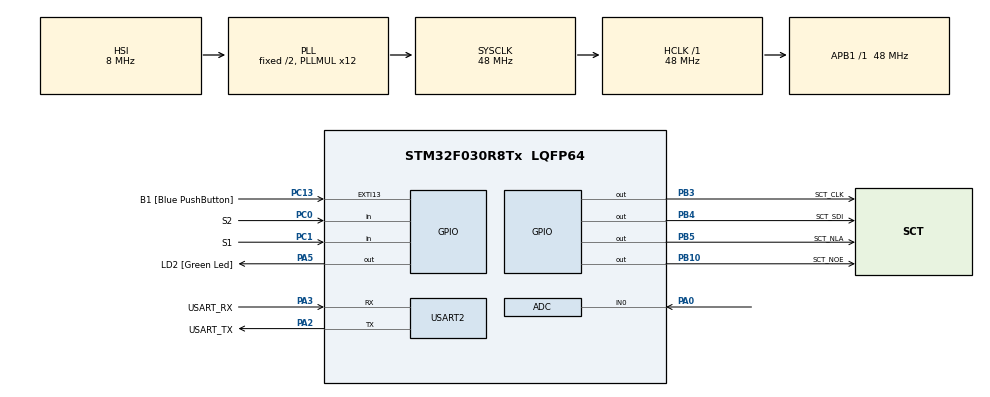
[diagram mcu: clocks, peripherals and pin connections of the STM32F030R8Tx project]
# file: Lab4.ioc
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Mcu.Family=STM32F0
Mcu.Name=STM32F030R8Tx
Mcu.Package=LQFP64
PA0.Mode=IN0
PA0.Signal=ADC_IN0
PA13.GPIO_Label=TMS
PA13.Mode=Serial_Wire
PA13.Signal=SYS_SWDIO
PA14.GPIO_Label=TCK
PA14.Mode=Serial_Wire
PA14.Signal=SYS_SWCLK
PA2.GPIO_Label=USART_TX
PA2.GPIO_Mode=GPIO_MODE_AF_PP
PA2.GPIO_PuPd=GPIO_NOPULL
PA2.GPIO_Speed=GPIO_SPEED_FREQ_LOW
PA2.Mode=Asynchronous
PA2.Signal=USART2_TX
PA3.GPIO_Label=USART_RX
PA3.GPIO_Mode=GPIO_MODE_AF_PP
PA3.GPIO_PuPd=GPIO_NOPULL
PA3.GPIO_Speed=GPIO_SPEED_FREQ_LOW
PA3.Mode=Asynchronous
PA3.Signal=USART2_RX
PA5.GPIO_Label=LD2 [Green Led]
PA5.GPIO_Mode=GPIO_MODE_OUTPUT_PP
PA5.GPIO_PuPd=GPIO_NOPULL
PA5.GPIO_Speed=GPIO_SPEED_FREQ_LOW
PA5.Signal=GPIO_Output
PB10.GPIO_Label=SCT_NOE
PB10.Signal=GPIO_Output
PB3.GPIO_Label=SCT_CLK
PB3.Signal=GPIO_Output
PB4.GPIO_Label=SCT_SDI
PB4.Signal=GPIO_Output
PB5.GPIO_Label=SCT_NLA
PB5.Signal=GPIO_Output
PC0.GPIO_Label=S2
PC0.GPIO_PuPd=GPIO_PULLUP
PC0.Signal=GPIO_Input
PC1.GPIO_Label=S1
PC1.GPIO_PuPd=GPIO_PULLUP
PC1.Signal=GPIO_Input
PC13.GPIO_Label=B1 [Blue PushButton]
PC13.GPIO_ModeDefaultEXTI=GPIO_MODE_IT_FALLING
PC13.Signal=GPXTI13
PC14-OSC32_IN.Mode=LSE-External-Oscillator
PC14-OSC32_IN.Signal=RCC_OSC32_IN
PC15-OSC32_OUT.Mode=LSE-External-Oscillator
PC15-OSC32_OUT.Signal=RCC_OSC32_OUT
PF0-OSC_IN.Mode=HSE-External-Clock-Source
PF0-OSC_IN.Signal=RCC_OSC_IN
PF1-OSC_OUT.Signal=RCC_OSC_OUT
ProjectManager.HeapSize=0x200
ProjectManager.StackSize=0x400
ProjectManager.TargetToolchain=STM32CubeIDE
RCC.AHBFreq_Value=48000000
RCC.APB1Freq_Value=48000000
RCC.APB1TimFreq_Value=48000000
RCC.HCLKFreq_Value=48000000
RCC.PLLMUL=RCC_PLL_MUL12
RCC.SYSCLKFreq_VALUE=48000000
RCC.SYSCLKSource=RCC_SYSCLKSOURCE_PLLCLK
USART2.VirtualMode-Asynchronous=VM_ASYNC
VP_ADC_TempSens_Input.Mode=IN-TempSens
VP_ADC_Vref_Input.Mode=IN-Vrefint
board=NUCLEO-F030R8

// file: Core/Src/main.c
/* USER CODE BEGIN Header */
/**
  ******************************************************************************
  * @file           : main.c
  * @brief          : Main program body
  ******************************************************************************
  * @attention
  *
  * <h2><center>&copy; Copyright (c) 2021 STMicroelectronics.
  * All rights reserved.</center></h2>
  *
  * This software component is licensed by ST under BSD 3-Clause license,
  * the "License"; You may not use this file except in compliance with the
  * License. You may obtain a copy of the License at:
  *                        opensource.org/licenses/BSD-3-Clause
  *
  ******************************************************************************
  */
/* USER CODE END Header */
#include "main.h"

/* USER CODE BEGIN Includes */
#include "sct.h"
/* USER CODE END Includes */

/* USER CODE BEGIN PD */

#define RX_BUFFER_LEN 64
static uint8_t uart_rx_buf[RX_BUFFER_LEN];
static volatile uint16_t uart_rx_read_ptr = 0;
#define uart_rx_write_ptr (RX_BUFFER_LEN - hdma_usart2_rx.Instance->CNDTR)

/* USER CODE END PD */

/* USER CODE BEGIN PM */
#define ADC_Q 12
/* Temperature sensor calibration value address */
#define TEMP110_CAL_ADDR ((uint16_t*) ((uint32_t) 0x1FFFF7C2))
#define TEMP30_CAL_ADDR ((uint16_t*) ((uint32_t) 0x1FFFF7B8))
/* Internal voltage reference calibration value address */
#define VREFINT_CAL_ADDR ((uint16_t*) ((uint32_t) 0x1FFFF7BA))
/* USER CODE END PM */

ADC_HandleTypeDef hadc;

UART_HandleTypeDef huart2;

void SystemClock_Config(void);
static void MX_GPIO_Init(void);
static void MX_USART2_UART_Init(void);
static void MX_ADC_Init(void);

/* USER CODE BEGIN 0 */

static volatile uint32_t raw_pot;

static volatile uint32_t raw_temp;
static volatile uint32_t raw_volt;

void HAL_ADC_ConvCpltCallback(ADC_HandleTypeDef* hadc)
{
	static uint8_t channel;
	static uint32_t avg_pot;

	if (channel == 0)
	{
		/*Exponential cummulation*/
		raw_pot = avg_pot >> ADC_Q;
		avg_pot -= raw_pot;
		avg_pot += HAL_ADC_GetValue(hadc);
	}
	else if (channel == 1)
	{
		raw_temp =  HAL_ADC_GetValue(hadc);
	}
	else if (channel == 2)
		raw_volt = HAL_ADC_GetValue(hadc);

	if (__HAL_ADC_GET_FLAG(hadc, ADC_FLAG_EOS)) channel = 0;
	else channel++;
}

/* USER CODE END 0 */

int main(void)
{

  /* MCU Configuration--------------------------------------------------------*/

  /* Reset of all peripherals, Initializes the Flash interface and the Systick. */
  HAL_Init();

  /* Configure the system clock */
  SystemClock_Config();

  /* Initialize all configured peripherals */
  MX_GPIO_Init();
  MX_USART2_UART_Init();
  MX_ADC_Init();
  /* USER CODE BEGIN 2 */
  sct_init(); // initialize the imported library

  /*Calibration of the ADC*/
  HAL_ADCEx_Calibration_Start(&hadc);
  HAL_ADC_Start_IT(&hadc);

  /* USER CODE END 2 */

  /* Infinite loop */
  while (1)
  {

    /* USER CODE BEGIN 3 */
	  static uint32_t last_time;
	  uint32_t time;

	  int32_t value = raw_pot*501/4096;
	  int8_t led = raw_pot/(500);

	  uint32_t voltage = 330 * (*VREFINT_CAL_ADDR) / raw_volt;
	  int32_t temperature = (raw_temp - (int32_t)(*TEMP30_CAL_ADDR));
	  temperature = temperature * (int32_t)(110 - 30);
	  temperature = temperature / (int32_t)(*TEMP110_CAL_ADDR - *TEMP30_CAL_ADDR);
	  temperature = temperature + 30;

	  static enum { SHOW_POT, SHOW_VOLT, SHOW_TEMP } state = SHOW_POT;

	  // check buttons
	  if (HAL_GPIO_ReadPin(S1_GPIO_Port,S1_Pin)==0)
	  {
		  last_time = HAL_GetTick();
		  state = SHOW_VOLT;
	  }
	  if (HAL_GPIO_ReadPin(S2_GPIO_Port,S2_Pin)==0)
	  {
		  last_time = HAL_GetTick();
		  state = SHOW_TEMP;
	  }

	  // stavy
	  if (state==SHOW_POT)
	  {
		  sct_value(value,led);
	  }

	  else if (state==SHOW_VOLT)
	  {
		  sct_value(voltage,led);
		  time = HAL_GetTick();
		  if (last_time+1000<time)
		  {
			  state = SHOW_POT;
		  }
	  }

	  else if (state==SHOW_TEMP)
	  {
		  sct_value(temperature,led);
		  time = HAL_GetTick();
		  if (last_time+1000<time)
		  {
			  state = SHOW_POT;
		  }
	  }
  }
  /* USER CODE END 3 */
}

void SystemClock_Config(void)
{
  RCC_OscInitTypeDef RCC_OscInitStruct = {0};
  RCC_ClkInitTypeDef RCC_ClkInitStruct = {0};

  /** Initializes the RCC Oscillators according to the specified parameters
  * in the RCC_OscInitTypeDef structure.
  */
  RCC_OscInitStruct.OscillatorType = RCC_OSCILLATORTYPE_HSI|RCC_OSCILLATORTYPE_HSI14;
  RCC_OscInitStruct.HSIState = RCC_HSI_ON;
  RCC_OscInitStruct.HSI14State = RCC_HSI14_ON;
  RCC_OscInitStruct.HSICalibrationValue = RCC_HSICALIBRATION_DEFAULT;
  RCC_OscInitStruct.HSI14CalibrationValue = 16;
  RCC_OscInitStruct.PLL.PLLState = RCC_PLL_ON;
  RCC_OscInitStruct.PLL.PLLSource = RCC_PLLSOURCE_HSI;
  RCC_OscInitStruct.PLL.PLLMUL = RCC_PLL_MUL12;
  RCC_OscInitStruct.PLL.PREDIV = RCC_PREDIV_DIV1;
  if (HAL_RCC_OscConfig(&RCC_OscInitStruct) != HAL_OK)
  {
    Error_Handler();
  }
  /** Initializes the CPU, AHB and APB buses clocks
  */
  RCC_ClkInitStruct.ClockType = RCC_CLOCKTYPE_HCLK|RCC_CLOCKTYPE_SYSCLK
                              |RCC_CLOCKTYPE_PCLK1;
  RCC_ClkInitStruct.SYSCLKSource = RCC_SYSCLKSOURCE_PLLCLK;
  RCC_ClkInitStruct.AHBCLKDivider = RCC_SYSCLK_DIV1;
  RCC_ClkInitStruct.APB1CLKDivider = RCC_HCLK_DIV1;

  if (HAL_RCC_ClockConfig(&RCC_ClkInitStruct, FLASH_LATENCY_1) != HAL_OK)
  {
    Error_Handler();
  }
}

static void MX_ADC_Init(void)
{

  ADC_ChannelConfTypeDef sConfig = {0};

  /** Configure the global features of the ADC (Clock, Resolution, Data Alignment and number of conversion)
  */
  hadc.Instance = ADC1;
  hadc.Init.ClockPrescaler = ADC_CLOCK_ASYNC_DIV1;
  hadc.Init.Resolution = ADC_RESOLUTION_12B;
  hadc.Init.DataAlign = ADC_DATAALIGN_RIGHT;
  hadc.Init.ScanConvMode = ADC_SCAN_DIRECTION_FORWARD;
  hadc.Init.EOCSelection = ADC_EOC_SINGLE_CONV;
  hadc.Init.LowPowerAutoWait = DISABLE;
  hadc.Init.LowPowerAutoPowerOff = DISABLE;
  hadc.Init.ContinuousConvMode = DISABLE;
  hadc.Init.DiscontinuousConvMode = DISABLE;
  hadc.Init.ExternalTrigConv = ADC_SOFTWARE_START;
  hadc.Init.ExternalTrigConvEdge = ADC_EXTERNALTRIGCONVEDGE_NONE;
  hadc.Init.DMAContinuousRequests = DISABLE;
  hadc.Init.Overrun = ADC_OVR_DATA_PRESERVED;
  if (HAL_ADC_Init(&hadc) != HAL_OK)
  {
    Error_Handler();
  }
  /** Configure for the selected ADC regular channel to be converted.
  */
  sConfig.Channel = ADC_CHANNEL_0;
  sConfig.Rank = ADC_RANK_CHANNEL_NUMBER;
  sConfig.SamplingTime = ADC_SAMPLETIME_1CYCLE_5;
  if (HAL_ADC_ConfigChannel(&hadc, &sConfig) != HAL_OK)
  {
    Error_Handler();
  }
  /** Configure for the selected ADC regular channel to be converted.
  */
  sConfig.Channel = ADC_CHANNEL_TEMPSENSOR;
  if (HAL_ADC_ConfigChannel(&hadc, &sConfig) != HAL_OK)
  {
    Error_Handler();
  }
  /** Configure for the selected ADC regular channel to be converted.
  */
  sConfig.Channel = ADC_CHANNEL_VREFINT;
  if (HAL_ADC_ConfigChannel(&hadc, &sConfig) != HAL_OK)
  {
    Error_Handler();
  }

}

static void MX_USART2_UART_Init(void)
{

  huart2.Instance = USART2;
  huart2.Init.BaudRate = 38400;
  huart2.Init.WordLength = UART_WORDLENGTH_8B;
  huart2.Init.StopBits = UART_STOPBITS_1;
  huart2.Init.Parity = UART_PARITY_NONE;
  huart2.Init.Mode = UART_MODE_TX_RX;
  huart2.Init.HwFlowCtl = UART_HWCONTROL_NONE;
  huart2.Init.OverSampling = UART_OVERSAMPLING_16;
  huart2.Init.OneBitSampling = UART_ONE_BIT_SAMPLE_DISABLE;
  huart2.AdvancedInit.AdvFeatureInit = UART_ADVFEATURE_NO_INIT;
  if (HAL_UART_Init(&huart2) != HAL_OK)
  {
    Error_Handler();
  }

}

static void MX_GPIO_Init(void)
{
  GPIO_InitTypeDef GPIO_InitStruct = {0};

  /* GPIO Ports Clock Enable */
  __HAL_RCC_GPIOC_CLK_ENABLE();
  __HAL_RCC_GPIOF_CLK_ENABLE();
  __HAL_RCC_GPIOA_CLK_ENABLE();
  __HAL_RCC_GPIOB_CLK_ENABLE();

  /*Configure GPIO pin Output Level */
  HAL_GPIO_WritePin(LD2_GPIO_Port, LD2_Pin, GPIO_PIN_RESET);

  /*Configure GPIO pin Output Level */
  HAL_GPIO_WritePin(GPIOB, SCT_NOE_Pin|SCT_CLK_Pin|SCT_SDI_Pin|SCT_NLA_Pin, GPIO_PIN_RESET);

  /*Configure GPIO pin : B1_Pin */
  GPIO_InitStruct.Pin = B1_Pin;
  GPIO_InitStruct.Mode = GPIO_MODE_IT_FALLING;
  GPIO_InitStruct.Pull = GPIO_NOPULL;
  HAL_GPIO_Init(B1_GPIO_Port, &GPIO_InitStruct);

  /*Configure GPIO pins : S2_Pin S1_Pin */
  GPIO_InitStruct.Pin = S2_Pin|S1_Pin;
  GPIO_InitStruct.Mode = GPIO_MODE_INPUT;
  GPIO_InitStruct.Pull = GPIO_PULLUP;
  HAL_GPIO_Init(GPIOC, &GPIO_InitStruct);

  /*Configure GPIO pin : LD2_Pin */
  GPIO_InitStruct.Pin = LD2_Pin;
  GPIO_InitStruct.Mode = GPIO_MODE_OUTPUT_PP;
  GPIO_InitStruct.Pull = GPIO_NOPULL;
  GPIO_InitStruct.Speed = GPIO_SPEED_FREQ_LOW;
  HAL_GPIO_Init(LD2_GPIO_Port, &GPIO_InitStruct);

  /*Configure GPIO pins : SCT_NOE_Pin SCT_CLK_Pin SCT_SDI_Pin SCT_NLA_Pin */
  GPIO_InitStruct.Pin = SCT_NOE_Pin|SCT_CLK_Pin|SCT_SDI_Pin|SCT_NLA_Pin;
  GPIO_InitStruct.Mode = GPIO_MODE_OUTPUT_PP;
  GPIO_InitStruct.Pull = GPIO_NOPULL;
  GPIO_InitStruct.Speed = GPIO_SPEED_FREQ_LOW;
  HAL_GPIO_Init(GPIOB, &GPIO_InitStruct);

}

void Error_Handler(void)
{
  __disable_irq();
  while (1)
  {
  }
}

/************************ (C) COPYRIGHT STMicroelectronics *****END OF FILE****/
